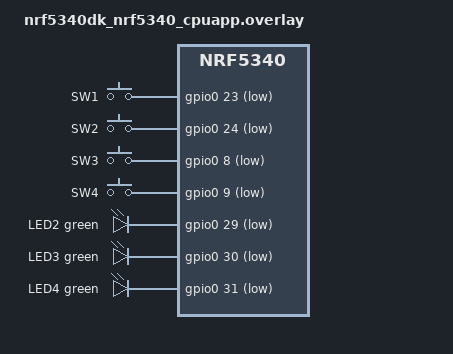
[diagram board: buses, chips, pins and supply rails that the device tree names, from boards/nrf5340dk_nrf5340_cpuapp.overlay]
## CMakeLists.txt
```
cmake_minimum_required(VERSION 3.20.0)

# if(NOT EXISTS $ENV{GATEWAY_DEVICE_ID})
#   message(FATAL "Build requires GATEWAY_DEVICE_ID variable in environment")
# else()
#   message(STATUS "GATEWAY_DEVICE_ID=$ENV{GATEWAY_DEVICE_ID}")
# endif()

find_package(Zephyr REQUIRED HINTS $ENV{ZEPHYR_BASE})
project(bluetooth_proxy_device)

FILE(GLOB app_sources src/*.c)

target_include_directories(app PRIVATE src)
target_sources(app PRIVATE ${app_sources})
```

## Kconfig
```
source "$ZEPHYR_BASE/Kconfig"

config GATEWAY_DEVICE_ID
	string "Device ID"
	help
	  The device ID to use for the device in pouches sent to the
	  Golioth cloud.

config GATEWAY_SYNC_PERIOD_S
	int "Sync Period"
	default 20
	help
	  The time, in seconds, after a sync to wait before requesting a sync from
	  a gateway.
```

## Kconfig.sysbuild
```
source "share/sysbuild/Kconfig"

config NET_CORE_BOARD
string
	default "nrf5340dk/nrf5340/cpunet" if $(BOARD) = "nrf5340dk"
```

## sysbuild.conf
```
# Sysbuild configuration file.

# Enable MCUboot per default for this application.
SB_CONFIG_BOOTLOADER_MCUBOOT=y
# SB_CONFIG_BOOT_SIGNATURE_TYPE_ECDSA_P256=y
# SB_CONFIG_BOOT_SIGNATURE_KEY_FILE="${APPLICATION_CONFIG_DIR}/keys/mcuboot_priv.pem"
# SB_CONFIG_BOOT_ENCRYPTION_KEY_FILE="${APPLICATION_CONFIG_DIR}/keys/mcuboot_priv.pem"
# SB_CONFIG_SECURE_BOOT_SIGNING_KEY_FILE="./keys/nsib_priv.pem"
```

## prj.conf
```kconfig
CONFIG_BT=y
CONFIG_BT_SMP=y
CONFIG_BT_PERIPHERAL=y
CONFIG_BT_DEVICE_NAME="Gardin"
CONFIG_BT_DEVICE_APPEARANCE=768

# Allow for large Bluetooth data packets.
CONFIG_BT_BUF_ACL_TX_SIZE=128
CONFIG_BT_BUF_ACL_RX_SIZE=128
CONFIG_BT_L2CAP_TX_MTU=128
# CONFIG_BT_CTLR_DATA_LENGTH_MAX=251

# Memory Configuration
# CONFIG_HEAP_MEM_POOL_SIZE=32768
# CONFIG_SYSTEM_WORKQUEUE_STACK_SIZE=32768
# CONFIG_MAIN_STACK_SIZE=16384

# Zephyr OS Configuration
CONFIG_CBPRINTF_FP_SUPPORT=y
CONFIG_BOOTLOADER_MCUBOOT=y

# Peripheral device drivers
CONFIG_INPUT=y
CONFIG_INPUT_GPIO_KEYS=y
CONFIG_LED=n
CONFIG_PWM=y
CONFIG_REBOOT=y

CONFIG_PM_DEVICE=y
# CONFIG_ZBUS=y

# Pouch
CONFIG_GATEWAY_DEVICE_ID="6810f90ad2a7f66810cb7e70"
CONFIG_ZCBOR=y
CONFIG_POUCH=y
CONFIG_POUCH_TRANSPORT_BLE_GATT=y

# Debug logging options
CONFIG_LOG=y
CONFIG_LOG_BACKEND_UART=y
CONFIG_UART_CONSOLE=y
CONFIG_USE_SEGGER_RTT=n
CONFIG_SHELL_BACKEND_RTT=n
CONFIG_LOG_BACKEND_RTT=n

CONFIG_SHELL=y
```

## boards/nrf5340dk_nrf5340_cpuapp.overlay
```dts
#include <zephyr/dt-bindings/input/input-event-codes.h>

/ {
	gpiokeys: gpio_keys {
		compatible = "gpio-keys";

		button_0: sw1 {
			label = "SW1";
			gpios = <&gpio0 23 (GPIO_PULL_UP | GPIO_ACTIVE_LOW)>;
			zephyr,code = <INPUT_KEY_0>;
		};

		button_1: sw2 {
			label = "SW2";
			gpios = <&gpio0 24 (GPIO_PULL_UP | GPIO_ACTIVE_LOW)>;
			zephyr,code = <INPUT_KEY_2>;
		};

		button_2: sw3 {
			label = "SW3";
			gpios = <&gpio0 8 (GPIO_PULL_UP | GPIO_ACTIVE_LOW)>;
			zephyr,code = <INPUT_KEY_3>;
		};

		button_3: sw4 {
			label = "SW4";
			gpios = <&gpio0 9 (GPIO_PULL_UP | GPIO_ACTIVE_LOW)>;
			zephyr,code = <INPUT_KEY_4>;
		};
	};

	leds-gpio {
		compatible = "gpio-leds";

		gpio_led_2: led_2 {
			gpios = <&gpio0 29 GPIO_ACTIVE_LOW>;
			label = "LED2 green";
		};

		gpio_led_3: led_3 {
			gpios = <&gpio0 30 GPIO_ACTIVE_LOW>;
			label = "LED3 green";
		};

		gpio_led_4: led_4 {
			gpios = <&gpio0 31 GPIO_ACTIVE_LOW>;
			label = "LED4 green";
		};
	};

	aliases {
		led2 = &gpio_led_2;
		led3 = &gpio_led_3;
		led4 = &gpio_led_4;
	};
};
```

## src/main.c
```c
#include <zephyr/kernel.h>
#include <zephyr/logging/log.h>

#include <zephyr/app_version.h>

#include "ble_module.h"
#include "hw_module.h"

#define LOG_LEVEL LOG_LEVEL_DBG
LOG_MODULE_REGISTER(main, LOG_LEVEL);

int main(void)
{
	hw_init();

	ble_module_init();

	LOG_INF("Bluetooth Proxy Device %d.%d.%d started!", APP_VERSION_MAJOR, APP_VERSION_MINOR,
		APP_PATCHLEVEL);

	while (1) {
		k_sleep(K_SECONDS(1));
	}
	return 0;
}
```

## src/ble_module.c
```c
#include <zephyr/kernel.h>
#include <zephyr/logging/log.h>

#include <zephyr/bluetooth/bluetooth.h>
#include <zephyr/bluetooth/conn.h>

#include <pouch/pouch.h>
#include <pouch/events.h>
#include <pouch/uplink.h>
#include <pouch/transport/ble_gatt/peripheral.h>

#define LOG_LEVEL CONFIG_LOG_DEFAULT_LEVEL
LOG_MODULE_REGISTER(ble_module);

struct bt_conn *current_conn;
static uint8_t service_data[] = {GOLIOTH_BLE_GATT_UUID_SVC_VAL, 0x00};

static struct bt_data ad[] = {
	BT_DATA_BYTES(BT_DATA_FLAGS, (BT_LE_AD_GENERAL | BT_LE_AD_NO_BREDR)),
	BT_DATA(BT_DATA_SVC_DATA128, service_data, ARRAY_SIZE(service_data)),
	BT_DATA(BT_DATA_NAME_COMPLETE, CONFIG_BT_DEVICE_NAME, sizeof(CONFIG_BT_DEVICE_NAME) - 1),
};

static void connected(struct bt_conn *conn, uint8_t err)
{
	if (err) {
		LOG_ERR("Connection failed (err 0x%02x)", err);
	} else {
		LOG_DBG("Connected");
		current_conn = bt_conn_ref(conn);
	}
}

void disconnect_work_handler(struct k_work *work)
{
	int err = bt_le_adv_start(BT_LE_ADV_CONN_FAST_2, ad, ARRAY_SIZE(ad), NULL, 0);
	if (err) {
		LOG_ERR("Advertising failed to start (err %d)", err);
	}
}

K_WORK_DELAYABLE_DEFINE(disconnect_work, disconnect_work_handler);

static void disconnected(struct bt_conn *conn, uint8_t reason)
{
	LOG_DBG("Disconnected (reason 0x%02x)", reason);
	if (current_conn) {
		bt_conn_unref(current_conn);
		current_conn = NULL;
	}
	k_work_schedule(&disconnect_work, K_SECONDS(1));
}

BT_CONN_CB_DEFINE(conn_callbacks) = {
	.connected = connected,
	.disconnected = disconnected,
};

void sync_request_work_handler(struct k_work *work)
{
	service_data[ARRAY_SIZE(service_data) - 1] = 0x01;
	bt_le_adv_update_data(ad, ARRAY_SIZE(ad), NULL, 0);
}

K_WORK_DELAYABLE_DEFINE(sync_request_work, sync_request_work_handler);

static void pouch_event_handler(enum pouch_event event, void *ctx)
{
	if (POUCH_EVENT_SESSION_START == event) {
		pouch_uplink_entry_write(".s/sensor", POUCH_CONTENT_TYPE_JSON, "{\"temp\":22}",
					 sizeof("{\"temp\":22}") - 1, K_FOREVER);
		pouch_uplink_close(K_FOREVER);
	}

	if (POUCH_EVENT_SESSION_END == event) {
		service_data[ARRAY_SIZE(service_data) - 1] = 0x00;
		k_work_schedule(&sync_request_work, K_SECONDS(CONFIG_GATEWAY_SYNC_PERIOD_S));
	}
}

POUCH_EVENT_HANDLER(pouch_event_handler, NULL);

void ble_module_init()
{
	int err = 0;

	struct golioth_ble_gatt_peripheral *peripheral =
		golioth_ble_gatt_peripheral_create(CONFIG_GATEWAY_DEVICE_ID);
	if (NULL == peripheral) {
		LOG_ERR("Failed to create peripheral");
	}

	err = bt_enable(NULL);
	if (err) {
		LOG_ERR("Bluetooth init failed (err %d)", err);
		return;
	}
	LOG_DBG("Bluetooth initialised");

	// if (IS_ENABLED(CONFIG_SETTINGS)) {
	// 	settings_load();
	// }

	// bt_conn_auth_cb_register(&auth_cb_display);

	struct pouch_config config = {
		.encryption_type = POUCH_ENCRYPTION_PLAINTEXT,
		.encryption.plaintext =
			{
				.device_id = CONFIG_GATEWAY_DEVICE_ID,
			},
	};
	err = pouch_init(&config);
	if (err) {
		LOG_ERR("Pouch init failed (err %d)", err);
		return;
	}

	err = bt_le_adv_start(BT_LE_ADV_CONN_FAST_2, ad, ARRAY_SIZE(ad), NULL, 0);
	if (err) {
		LOG_ERR("Advertising failed to start (err %d)", err);
		return;
	}
	LOG_INF("Advertising successfully started");

	k_work_schedule(&sync_request_work, K_SECONDS(CONFIG_GATEWAY_SYNC_PERIOD_S));
}
```

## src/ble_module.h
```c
#pragma once

void ble_module_init();
```

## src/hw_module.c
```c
#include <zephyr/kernel.h>
#include <zephyr/device.h>
#include <zephyr/drivers/gpio.h>
#include <zephyr/drivers/pwm.h>
// #include <zephyr/drivers/rtc.h>
#include <zephyr/dt-bindings/input/input-event-codes.h>
#include <zephyr/input/input.h>
#include <zephyr/logging/log.h>
#include <zephyr/pm/device.h>
#include <zephyr/pm/pm.h>
#include <zephyr/pm/device_runtime.h>
// #include <zephyr/zbus/zbus.h>

// #include <time.h>
// #include <zephyr/posix/time.h>
// #include <zephyr/sys/timeutil.h>

LOG_MODULE_REGISTER(hw_module, LOG_LEVEL_DBG);

// static const struct device *rtc_dev = DEVICE_DT_GET(DT_ALIAS(rtc));
const struct device *const gpio_keys_dev = DEVICE_DT_GET(DT_NODELABEL(gpiokeys));
static const struct pwm_dt_spec pwm_led0 = PWM_DT_SPEC_GET(DT_ALIAS(pwm_led0));
static const struct gpio_dt_spec led2 = GPIO_DT_SPEC_GET(DT_ALIAS(led2), gpios);

K_SEM_DEFINE(sem_hw_inited, 0, 1);
K_SEM_DEFINE(sem_hw_thread_start, 0, 1);

// ZBUS_CHAN_DECLARE(sys_time_chan);
// ZBUS_CHAN_DECLARE(temp_chan);

static void gpio_keys_cb_handler(struct input_event *evt, void *user_data)
{
	if (evt->value == 1) {
		switch (evt->code) {
		case INPUT_KEY_0:
			LOG_INF("Key 0 Pressed");
			pwm_set_pulse_dt(&pwm_led0, pwm_led0.period);
			// k_sem_give(&sem_crown_key_pressed);
			break;
		case INPUT_KEY_1:
			LOG_INF("Key 1 Pressed");
			pwm_set_pulse_dt(&pwm_led0, 0);
			// sys_reboot(SYS_REBOOT_COLD);
			break;
		case INPUT_KEY_2:
			LOG_INF("Key 2 Pressed");
			break;
		case INPUT_KEY_3:
			LOG_INF("Key 3 Pressed");
			break;
		default:
			break;
		}
	}
}
/*
double read_temp_f(void)
{
	struct sensor_value temp_sample;

	sensor_sample_fetch(max30208_dev);
	sensor_channel_get(max30208_dev, SENSOR_CHAN_AMBIENT_TEMP, &temp_sample);
	double temp_c = (double)temp_sample.val1 * 0.005;
	double temp_f = (temp_c * 1.8) + 32.0;
	return temp_f;
}

void hw_rtc_set_device_time(uint8_t m_sec, uint8_t m_min, uint8_t m_hour, uint8_t m_day,
			    uint8_t m_month, uint8_t m_year)
{
	struct rtc_time time_set;

	time_set.tm_sec = m_sec;
	time_set.tm_min = m_min;
	time_set.tm_hour = m_hour;
	time_set.tm_mday = m_day;
	time_set.tm_mon = m_month;
	time_set.tm_year = m_year;

	int ret = rtc_set_time(rtc_dev, &time_set);
}
*/
void hw_init(void)
{
	int ret = 0;
	// static struct rtc_time curr_time;

	if (!gpio_is_ready_dt(&led2)) {
		return;
	}

	ret = gpio_pin_configure_dt(&led2, GPIO_OUTPUT_ACTIVE);
	if (ret < 0) {
		return;
	}

	if (!pwm_is_ready_dt(&pwm_led0)) {
		LOG_ERR("Error: PWM device %s is not ready", pwm_led0.dev->name);
		return;
	}
	pwm_set_pulse_dt(&pwm_led0, 0);

	// rtc_get_time(rtc_dev, &curr_time);
	// LOG_INF("RTC time: %d:%d:%d %d/%d/%d", curr_time.tm_hour, curr_time.tm_min,
	// 	curr_time.tm_sec, curr_time.tm_mon, curr_time.tm_mday, curr_time.tm_year);

	pm_device_runtime_get(gpio_keys_dev);

	INPUT_CALLBACK_DEFINE(gpio_keys_dev, gpio_keys_cb_handler, NULL);

	k_sem_give(&sem_hw_inited);

	LOG_INF("HW Init complete");

	k_sem_give(&sem_hw_thread_start);
}
/*
struct tm hw_get_sys_time(void)
{
	return sys_tm_time;
}

int64_t hw_get_sys_time_ts(void)
{
	int64_t sys_time_ts = timeutil_timegm64(&sys_tm_time);
	return sys_time_ts;
}
*/
void hw_thread(void)
{
	// struct rtc_time rtc_sys_time;
	// double _temp_f = 0.0;
	int ret;

	k_sem_take(&sem_hw_thread_start, K_FOREVER);
	LOG_INF("HW Thread starting");

	for (;;) {
		// Read and publish time
		// ret = rtc_get_time(rtc_dev, &rtc_sys_time);
		// if (ret < 0) {
		// 	LOG_ERR("Failed to get RTC time");
		// }
		// sys_tm_time = *rtc_time_to_tm(&rtc_sys_time);
		// zbus_chan_pub(&sys_time_chan, &sys_tm_time, K_SECONDS(1));

		// Read and publish temperature
		// _temp_f = read_temp_f();

		// zbus_chan_pub(&temp_chan, &temp, K_SECONDS(1));

		ret = gpio_pin_toggle_dt(&led2);
		k_sleep(K_MSEC(500));
	}
}

#define HW_THREAD_STACKSIZE 4096
#define HW_THREAD_PRIORITY  7

K_THREAD_DEFINE(hw_thread_id, HW_THREAD_STACKSIZE, hw_thread, NULL, NULL, NULL, HW_THREAD_PRIORITY,
		0, 0);
```

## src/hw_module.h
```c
#pragma once

void hw_init(void);
```
